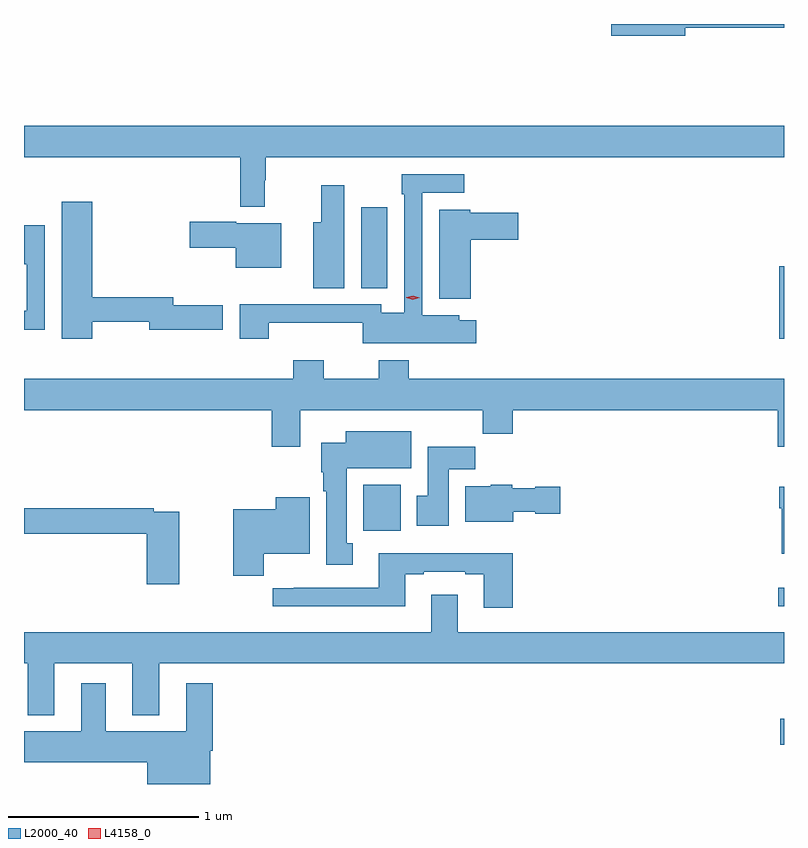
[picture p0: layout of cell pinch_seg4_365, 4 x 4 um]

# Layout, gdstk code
import gdstk
lib = gdstk.Library(unit=1e-6, precision=1e-09)
def R(c, l, rs):  # rectangles x0, y0, x1, y1
    for r in rs: c.add(gdstk.rectangle(r[:2], r[2:], *l))
def P(c, l, *ps):  # polygons
    for p in ps: c.add(gdstk.Polygon(p, *l))
L2000_40 = (2000, 40)
L4158_0 = (4158, 0)

pinch_seg4_365 = lib.new_cell('pinch_seg4_365')
R(pinch_seg4_365, L2000_40, [(961.206,801.718,961.226,801.855), (961.197,802.448,961.226,802.545), (959.012,802.844,959.209,803.086), (961.202,803.856,961.226,804.237), (959,804.121,959.137,804.547)])
P(pinch_seg4_365, L2000_40, [(960.706,805.492),(961.226,805.492),(961.226,805.512),(960.318,805.512),(960.318,805.45),(960.706,805.45)],
  [(958.492,804.689),(958.499,804.689),(958.499,804.812),(961.226,804.812),(961.226,804.976),(957.226,804.976),(957.226,804.812),(958.364,804.812),(958.364,804.549),(958.492,804.549)],
  [(959.605,803.953),(959.517,803.953),(959.517,803.98),(959.322,803.98),(959.322,804.624),(959.542,804.624),(959.542,804.72),(959.214,804.72),(959.214,804.617),(959.226,804.617),(959.226,803.992),(959.106,803.992),(959.106,804.036),(958.597,804.036),(958.597,804.038),(958.361,804.038),(958.361,803.856),(958.514,803.856),(958.514,803.939),(959.01,803.939),(959.01,803.831),(959.605,803.831)],
  [(958.912,804.664),(958.79,804.664),(958.79,804.469),(958.748,804.469),(958.748,804.121),(958.912,804.121)],
  [(957.586,803.946),(957.884,803.946),(957.884,803.903),(958.273,803.903),(958.273,804.033),(958.012,804.033),(958.012,804.074),(957.586,804.074),(957.586,804.577),(957.425,804.577),(957.425,803.856),(957.586,803.856)],
  [(959.578,804.377),(959.827,804.377),(959.827,804.519),(959.574,804.519),(959.574,804.535),(959.411,804.535),(959.411,804.065),(959.578,804.065)],
  [(958.579,804.463),(958.344,804.463),(958.344,804.47),(958.098,804.47),(958.098,804.334),(958.34,804.334),(958.34,804.23),(958.579,804.23)],
  [(957.336,804.454),(957.226,804.454),(957.226,804.344),(957.227,804.344),(957.227,804.248),(957.24,804.248),(957.24,804.003),(957.226,804.003),(957.226,803.902),(957.336,803.902)],
  [(958.681,803.48),(959.641,803.48),(959.641,803.356),(959.798,803.356),(959.798,803.48),(961.193,803.48),(961.193,803.286),(961.226,803.286),(961.226,803.644),(959.252,803.644),(959.252,803.743),(959.092,803.743),(959.092,803.644),(958.803,803.644),(958.803,803.743),(958.643,803.743),(958.643,803.644),(957.226,803.644),(957.226,803.48),(958.529,803.48),(958.529,803.286),(958.681,803.286)],
  [(958.957,802.778),(958.924,802.778),(958.924,803.174),(959.263,803.174),(959.263,803.368),(958.919,803.368),(958.919,803.308),(958.79,803.308),(958.79,803.154),(958.802,803.154),(958.802,803.054),(958.817,803.054),(958.817,802.665),(958.957,802.665)],
  [(959.461,803.168),(959.6,803.168),(959.6,803.286),(959.351,803.286),(959.351,803.028),(959.294,803.028),(959.294,802.872),(959.461,802.872)],
  [(959.8,802.946),(959.916,802.946),(959.916,802.934),(960.049,802.934),(960.049,803.076),(959.916,803.076),(959.916,803.068),(959.796,803.068),(959.796,803.086),(959.682,803.086),(959.682,803.08),(959.549,803.08),(959.549,802.892),(959.8,802.892)],
  [(961.226,803.077),(961.202,803.077),(961.202,802.964),(961.214,802.964),(961.214,802.724),(961.226,802.724)],
  [(958.489,802.724),(958.729,802.724),(958.729,803.02),(958.55,803.02),(958.55,802.957),(958.328,802.957),(958.328,802.609),(958.489,802.609)],
  [(958.042,802.944),(957.908,802.944),(957.908,802.964),(957.226,802.964),(957.226,802.828),(957.872,802.828),(957.872,802.563),(958.042,802.563)],
  [(959.798,802.726),(959.093,802.726),(959.093,802.545),(958.645,802.545),(958.645,802.543),(958.536,802.543),(958.536,802.448),(959.233,802.448),(959.233,802.617),(959.329,802.617),(959.329,802.629),(959.549,802.629),(959.549,802.617),(959.645,802.617),(959.645,802.44),(959.798,802.44)],
  [(957.385,802.148),(957.797,802.148),(957.797,801.875),(957.937,801.875),(957.937,802.148),(961.226,802.148),(961.226,802.312),(959.509,802.312),(959.509,802.507),(959.369,802.507),(959.369,802.312),(957.226,802.312),(957.226,802.148),(957.245,802.148),(957.245,801.875),(957.385,801.875)],
  [(958.207,801.686),(958.22,801.686),(958.22,802.042),(958.079,802.042),(958.079,801.79),(957.655,801.79),(957.655,802.042),(957.527,802.042),(957.527,801.79),(957.226,801.79),(957.226,801.626),(957.875,801.626),(957.875,801.512),(958.207,801.512)])
P(pinch_seg4_365, L4158_0, [(959.273,804.062),(959.239,804.072),(959.239,804.072),(959.239,804.073),(959.274,804.082),(959.308,804.071),(959.309,804.071),(959.308,804.071)])

lib.write_gds('pinch_seg4_365.gds')
